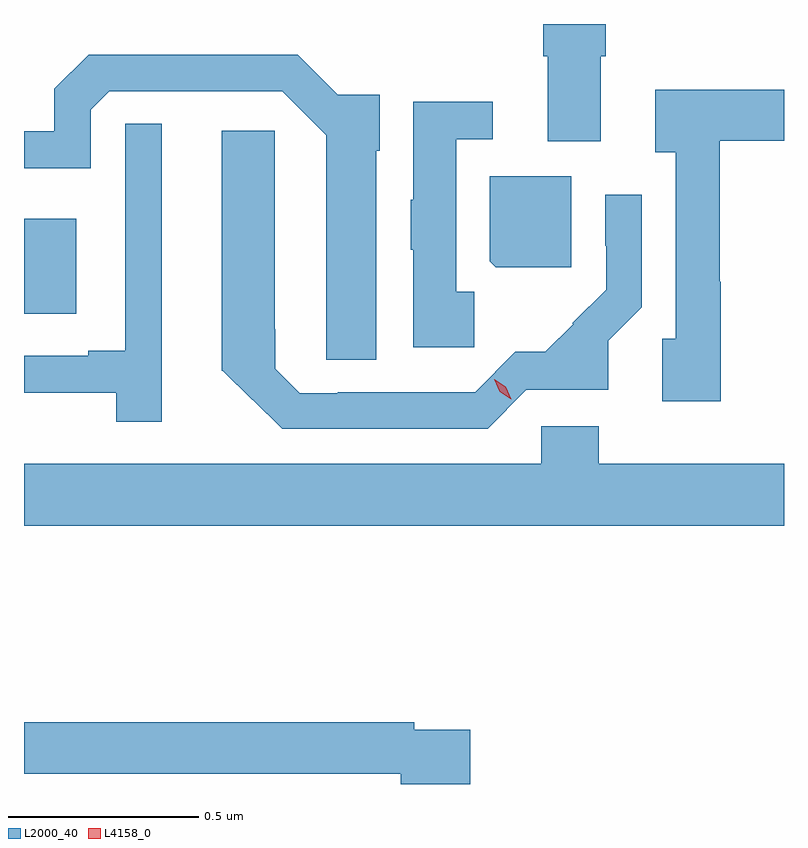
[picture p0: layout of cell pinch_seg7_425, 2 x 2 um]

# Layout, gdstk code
import gdstk
lib = gdstk.Library(unit=1e-6, precision=1e-09)
def R(c, l, rs):  # rectangles x0, y0, x1, y1
    for r in rs: c.add(gdstk.rectangle(r[:2], r[2:], *l))
def P(c, l, *ps):  # polygons
    for p in ps: c.add(gdstk.Polygon(p, *l))
L2000_40 = (2000, 40)
L4158_0 = (4158, 0)

pinch_seg7_425 = lib.new_cell('pinch_seg7_425')
R(pinch_seg7_425, L2000_40, [(537.523,1018.49,537.661,1018.741)])
P(pinch_seg7_425, L2000_40, [(539.041,1019.168),(539.054,1019.168),(539.054,1019.253),(538.889,1019.253),(538.889,1019.168),(538.901,1019.168),(538.901,1018.944),(539.041,1018.944)],
  [(538.45,1018.92),(538.459,1018.92),(538.459,1019.067),(538.348,1019.067),(538.243,1019.172),(537.693,1019.172),(537.603,1019.082),(537.603,1018.971),(537.523,1018.971),(537.523,1018.874),(537.699,1018.874),(537.699,1019.028),(537.747,1019.076),(538.203,1019.076),(538.319,1018.96),(538.319,1018.369),(538.45,1018.369)],
  [(539.356,1018.575),(539.354,1018.575),(539.354,1018.946),(539.523,1018.946),(539.523,1019.08),(539.184,1019.08),(539.184,1018.916),(539.238,1018.916),(539.238,1018.425),(539.202,1018.425),(539.202,1018.26),(539.356,1018.26)],
  [(538.708,1018.548),(538.66,1018.548),(538.66,1018.95),(538.756,1018.95),(538.756,1019.048),(538.547,1019.048),(538.547,1018.791),(538.541,1018.791),(538.541,1018.659),(538.547,1018.659),(538.547,1018.403),(538.708,1018.403)],
  [(537.886,1018.991),(537.789,1018.991),(537.789,1018.393),(537.692,1018.393),(537.692,1018.38),(537.523,1018.38),(537.523,1018.283),(537.766,1018.283),(537.766,1018.206),(537.886,1018.206)],
  [(538.845,1018.29),(539.06,1018.29),(539.06,1018.419),(539.148,1018.508),(539.148,1018.804),(539.052,1018.804),(539.052,1018.67),(539.055,1018.67),(539.055,1018.554),(538.966,1018.465),(538.968,1018.463),(538.895,1018.39),(538.816,1018.39),(538.71,1018.284),(538.348,1018.284),(538.348,1018.281),(538.248,1018.281),(538.184,1018.346),(538.184,1018.45),(538.183,1018.45),(538.183,1018.972),(538.043,1018.972),(538.043,1018.341),(538.046,1018.341),(538.123,1018.264),(538.124,1018.265),(538.202,1018.188),(538.743,1018.188)],
  [(538.963,1018.852),(538.748,1018.852),(538.748,1018.629),(538.764,1018.613),(538.963,1018.613)],
  [(539.523,1018.096),(539.036,1018.096),(539.036,1018.194),(538.884,1018.194),(538.884,1018.096),(537.523,1018.096),(537.523,1017.932),(539.523,1017.932)],
  [(538.697,1017.396),(538.55,1017.396),(538.55,1017.416),(537.523,1017.416),(537.523,1017.28),(538.514,1017.28),(538.514,1017.253),(538.697,1017.253)])
P(pinch_seg7_425, L4158_0, [(538.805,1018.265),(538.775,1018.285),(538.761,1018.318),(538.761,1018.318),(538.761,1018.318),(538.791,1018.298),(538.805,1018.266),(538.805,1018.265)])

lib.write_gds('pinch_seg7_425.gds')
